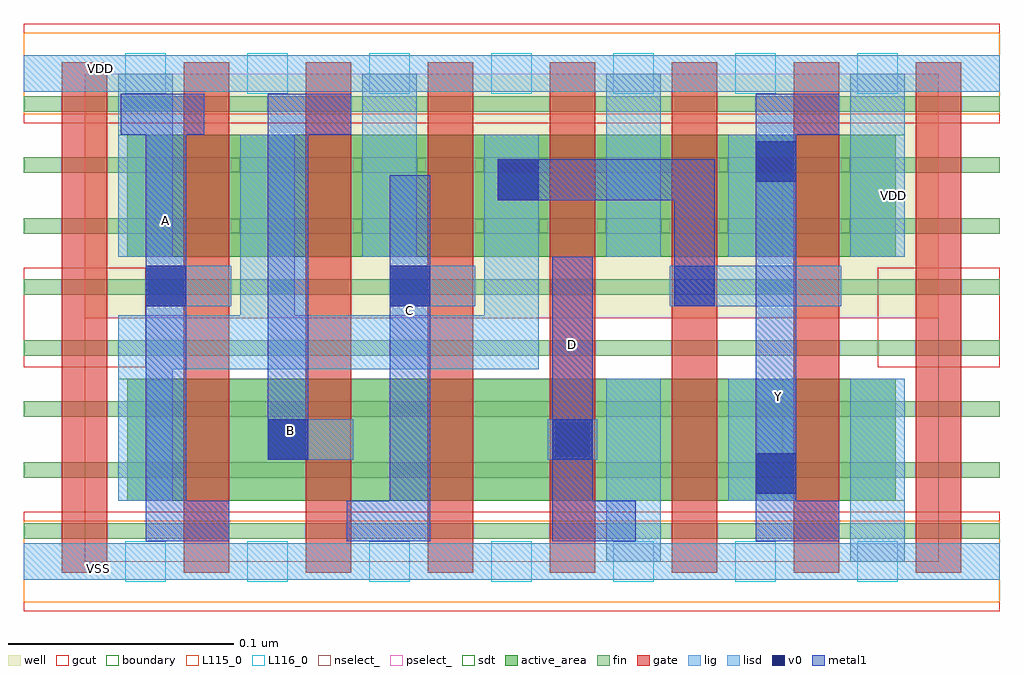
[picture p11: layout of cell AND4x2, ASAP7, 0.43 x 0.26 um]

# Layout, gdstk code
import gdstk
lib = gdstk.Library(unit=1e-6, precision=2.5e-10)
def R(c, l, rs):  # rectangles x0, y0, x1, y1
    for r in rs: c.add(gdstk.rectangle(r[:2], r[2:], *l))
def A(c, l, x, y, w, h, nx, ny, dx, dy):  # array of equal rectangles
    R(c, l, [(x+i*dx, y+j*dy, x+i*dx+w, y+j*dy+h) for i in range(nx) for j in range(ny)])
def P(c, l, *ps):  # polygons
    for p in ps: c.add(gdstk.Polygon(p, *l))
well = (1, 0)
fin = (2, 0)
gate = (7, 0)
gcut = (10, 0)
active_area = (11, 0)
nselect_ = (12, 0)
pselect_ = (13, 0)
lig = (16, 0)
lisd = (17, 0)
v0 = (18, 0)
metal1 = (19, 0)
sdt = (88, 0)
boundary = (100, 0)
L115_0 = (115, 0)
L116_0 = (116, 0)

and4x2 = lib.new_cell('AND4x2')
R(and4x2, well, [(0,0.108,0.378,0.216)])
A(and4x2, fin, -0.027, 0.01, 0.432, 0.007, 1, 8, 0, 0.027)
A(and4x2, gate, -0.01, -0.005, 0.02, 0.226, 7, 1, 0.054, 0)
R(and4x2, gate, [(0.314,-0.005,0.334,0.221), (0.314,-0.005,0.334,0.221), (0.314,-0.005,0.334,0.221), (0.368,-0.005,0.388,0.221)])
R(and4x2, gcut, [(-0.027,-0.022,0.405,0.022), (-0.027,0.086,0.027,0.13), (0.351,0.086,0.405,0.13), (-0.027,0.194,0.405,0.238)])
R(and4x2, active_area, [(0.019,0.027,0.359,0.081), (0.019,0.135,0.359,0.189)])
R(and4x2, nselect_, [(0,0,0.378,0.108)])
R(and4x2, pselect_, [(0,0.108,0.378,0.216)])
R(and4x2, lig, [(-0.027,-0.008,0.405,0.008), (0.081,0.045,0.119,0.063), (0.205,0.045,0.227,0.063), (0.027,0.113,0.065,0.131), (0.135,0.113,0.173,0.131), (0.259,0.113,0.335,0.131), (-0.027,0.208,0.405,0.224)])
A(and4x2, lisd, 0.015, 0.135, 0.024, 0.081, 4, 1, 0.108, 0)
R(and4x2, lisd, [(0.231,0,0.255,0.081), (0.339,0,0.363,0.081), (0.285,0.027,0.315,0.081), (0.015,0.135,0.039,0.216), (0.285,0.135,0.315,0.189)])
P(and4x2, lisd, [(0.201,0.189),(0.177,0.189),(0.177,0.109),(0.093,0.109),(0.093,0.189),(0.069,0.189),(0.069,0.109),(0.015,0.109),(0.015,0.027),(0.039,0.027),(0.039,0.085),(0.201,0.085)])
R(and4x2, v0, [(0.297,0.03,0.315,0.048), (0.081,0.045,0.099,0.063), (0.207,0.045,0.225,0.063), (0.027,0.113,0.045,0.131), (0.135,0.113,0.153,0.131), (0.261,0.113,0.279,0.131), (0.183,0.16,0.201,0.178), (0.297,0.168,0.315,0.186)])
R(and4x2, metal1, [(0.027,0.009,0.064,0.027), (0.027,0.009,0.045,0.207), (0.116,0.009,0.153,0.027), (0.135,0.009,0.153,0.171), (0.207,0.009,0.244,0.027), (0.207,0.009,0.225,0.135), (0.297,0.009,0.334,0.027), (0.297,0.009,0.315,0.207), (0.081,0.045,0.099,0.207), (0.261,0.113,0.279,0.178), (0.183,0.16,0.279,0.178), (0.016,0.189,0.053,0.207), (0.081,0.189,0.118,0.207), (0.297,0.189,0.334,0.207)])
A(and4x2, sdt, 0.231, 0.027, 0.024, 0.054, 3, 1, 0.054, 0)
A(and4x2, sdt, 0.015, 0.135, 0.024, 0.054, 7, 1, 0.054, 0)
R(and4x2, sdt, [(0.015,0.027,0.039,0.081)])
R(and4x2, boundary, [(0,0,0.378,0.216)])
R(and4x2, L115_0, [(-0.027,-0.018,0.405,0.018), (-0.027,0.198,0.405,0.234)])
A(and4x2, L116_0, 0.018, -0.009, 0.018, 0.018, 7, 2, 0.054, 0.216)
and4x2.add(gdstk.Label('D', (0.216,0.096), layer=19, texttype=251))
and4x2.add(gdstk.Label('C', (0.144,0.111), layer=19, texttype=251))
and4x2.add(gdstk.Label('B', (0.091,0.058), layer=19, texttype=251))
and4x2.add(gdstk.Label('Y', (0.307,0.073), layer=19, texttype=251))
and4x2.add(gdstk.Label('A', (0.036,0.151), layer=19, texttype=251))
and4x2.add(gdstk.Label('VDD', (0.358,0.162), layer=1, texttype=251))
and4x2.add(gdstk.Label('VSS', (0.423,0.162), layer=3, texttype=251))
and4x2.add(gdstk.Label('VDD', (0.007,0.218), layer=115, texttype=251))
and4x2.add(gdstk.Label('VSS', (0.006,-0.003), layer=115, texttype=251))

lib.write_gds('AND4x2.gds')
